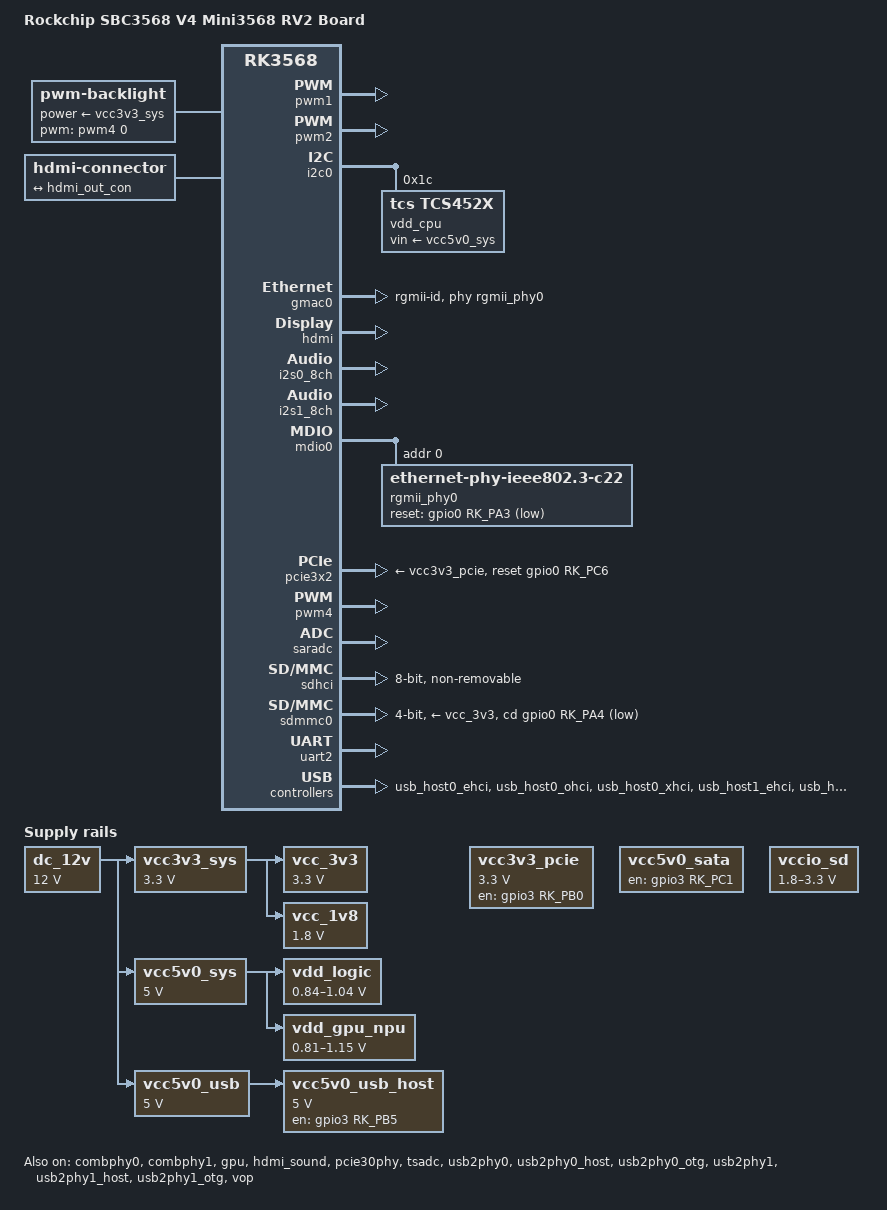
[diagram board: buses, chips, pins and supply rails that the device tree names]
// SPDX-License-Identifier: (GPL-2.0+ OR MIT)
/*
 * Copyright (c) 2021 Rockchip Electronics Co., Ltd.
 *
 */

/dts-v1/;
#include <dt-bindings/gpio/gpio.h>
#include <dt-bindings/leds/common.h>
#include <dt-bindings/pinctrl/rockchip.h>
#include <dt-bindings/soc/rockchip,vop2.h>
#include "rk3568.dtsi"

/ {
	model = "Rockchip SBC3568 V4 Mini3568 RV2 Board";
	compatible = "boardcon,rk3568-boardcon-sbc-v4", "rockchip,rk3568";

	aliases {
		ethernet0 = &gmac0;
		ethernet1 = &gmac1;
		mmc0 = &sdmmc0;
		mmc1 = &sdhci;
	};

	backlight: backlight {
		compatible = "pwm-backlight";
		brightness-levels = <20 220>;
		default-brightness-level = <100>;
		num-interpolated-steps = <200>;
		power-supply = <&vcc3v3_sys>;
		pwms = <&pwm4 0 25000 0>;
	};

	chosen: chosen {
		stdout-path = "serial2:1500000n8";
	};

	dc_12v: regulator-dc-12v {
		compatible = "regulator-fixed";
		regulator-name = "dc_12v";
		regulator-always-on;
		regulator-boot-on;
		regulator-min-microvolt = <12000000>;
		regulator-max-microvolt = <12000000>;
	};

	hdmi-con {
		compatible = "hdmi-connector";
		type = "a";

		port {
			hdmi_con_in: endpoint {
				remote-endpoint = <&hdmi_out_con>;
			};
		};
	};

	vcc_3v3: vcc-3V3 {
		compatible = "regulator-fixed";
		regulator-name = "vcc_3V3";
		regulator-always-on;
		regulator-boot-on;
		regulator-min-microvolt = <3300000>;
		regulator-max-microvolt = <3300000>;
		vin-supply = <&vcc3v3_sys>;
	};
	
	vcc_1v8: vcc-1V8 {
		compatible = "regulator-fixed";
		regulator-name = "vcc_1V8";
		regulator-always-on;
		regulator-boot-on;
		regulator-min-microvolt = <1800000>;
		regulator-max-microvolt = <1800000>;
		vin-supply = <&vcc3v3_sys>;
	};

	vcc3v3_sys: regulator-vcc3v3-sys {
		compatible = "regulator-fixed";
		regulator-name = "vcc3v3_sys";
		regulator-always-on;
		regulator-boot-on;
		regulator-min-microvolt = <3300000>;
		regulator-max-microvolt = <3300000>;
		vin-supply = <&dc_12v>;
	};

	vcc5v0_sys: regulator-vcc5v0-sys {
		compatible = "regulator-fixed";
		regulator-name = "vcc5v0_sys";
		regulator-always-on;
		regulator-boot-on;
		regulator-min-microvolt = <5000000>;
		regulator-max-microvolt = <5000000>;
		vin-supply = <&dc_12v>;
	};

	vcc5v0_usb: regulator-vcc5v0-usb {
		compatible = "regulator-fixed";
		regulator-name = "vcc5v0_usb";
		regulator-always-on;
		regulator-boot-on;
		regulator-min-microvolt = <5000000>;
		regulator-max-microvolt = <5000000>;
		vin-supply = <&dc_12v>;
	};
	
	vdd_logic: vdd-logic {
		compatible = "pwm-regulator";
		pwms = <&pwm1 0 5000 1>;
		regulator-name = "vdd_logic";
		regulator-min-microvolt = <840000>;
		regulator-max-microvolt = <1040000>;
		regulator-init-microvolt = <900000>;
		regulator-always-on;
		regulator-boot-on;
		regulator-settling-time-up-us = <250>;
		pwm-supply = <&vcc5v0_sys>;
		status = "okay";
	};
	
	vdd_gpu_npu: vdd-gpu-npu {
		compatible = "pwm-regulator";
		pwms = <&pwm2 0 5000 1>;
		regulator-name = "vdd_gpu_npu";
		regulator-min-microvolt = <810000>;
		regulator-max-microvolt = <1150000>;
		regulator-init-microvolt = <900000>;
		regulator-always-on;
		regulator-boot-on;
		regulator-settling-time-up-us = <250>;
		pwm-supply = <&vcc5v0_sys>;
		status = "okay";
	};

	vcc5v0_usb_host: regulator-vcc5v0-usb-host {
		compatible = "regulator-fixed";
		enable-active-high;
		gpio = <&gpio3 RK_PB5 GPIO_ACTIVE_HIGH>;
		pinctrl-names = "default";
		pinctrl-0 = <&vcc5v0_usb_host_en>;
		regulator-name = "vcc5v0_usb_host";
		regulator-min-microvolt = <5000000>;
		regulator-max-microvolt = <5000000>;
		vin-supply = <&vcc5v0_usb>;
	};
	
	vcc3v3_pcie: vcc3v3-pcie {
		compatible = "regulator-fixed";
		regulator-name = "vcc3v3_pcie";
		regulator-min-microvolt = <3300000>;
		regulator-max-microvolt = <3300000>;
		enable-active-high;
		gpio = <&gpio3 RK_PB0 GPIO_ACTIVE_HIGH>;
		startup-delay-us = <5000>;
		pinctrl-names = "default";
	  pinctrl-0 = <&pcie_m2_en>;
	};

	vcc5v0_sata: vcc5v0-sata {
		compatible = "regulator-fixed";
		regulator-name = "vcc5v0_sata";
		enable-active-high;
		regulator-always-on;
    regulator-boot-on;
		gpio = <&gpio3 RK_PC1 GPIO_ACTIVE_HIGH>;
		startup-delay-us = <5000>;
		pinctrl-names = "default";
	  pinctrl-0 = <&vcc_sata_en>;
	};
	
	vccio_sd: vccio-sd {
  	compatible = "regulator-gpio";
  	regulator-name = "vccio_sd";
  	regulator-type = "voltage";
  	regulator-min-microvolt = <1800000>;
  	regulator-max-microvolt = <3300000>;
  	gpios = <&gpio0 RK_PB7 GPIO_ACTIVE_HIGH>;
  	states = <1800000 1>, 
  		       <3300000 0>; 
  	regulator-boot-on;
	  regulator-always-on;
	  pinctrl-names = "default";
	  pinctrl-0 = <&vccio_sd_ctrl>;
	};
};

&pwm1 {
	pinctrl-0 = <&pwm1m0_pins>;
	status = "okay";
};

&pwm2 {
	pinctrl-0 = <&pwm2m0_pins>;
	status = "okay";	
};

&i2c0 {
	status = "okay";

	vdd_cpu: tcs4525@1c {
		compatible = "tcs,tcs452x";
		reg = <0x1c>;
		vin-supply = <&vcc5v0_sys>;
		regulator-compatible = "fan53555-reg";
		regulator-name = "vdd_cpu";
		regulator-min-microvolt = <712500>;
		regulator-max-microvolt = <1390000>;
		regulator-init-microvolt = <900000>;
		regulator-ramp-delay = <2300>;
		fcs,suspend-voltage-selector = <1>;
		regulator-boot-on;
		regulator-always-on;
		regulator-state-mem {
			regulator-off-in-suspend;
		};
	};
};

&combphy0 {
	status = "okay";
};

&combphy1 {
	status = "okay";
};

&cpu0 {
	cpu-supply = <&vdd_cpu>;
};

&cpu1 {
	cpu-supply = <&vdd_cpu>;
};

&cpu2 {
	cpu-supply = <&vdd_cpu>;
};

&cpu3 {
	cpu-supply = <&vdd_cpu>;
};

&gmac0 {
	assigned-clocks = <&cru SCLK_GMAC0_RX_TX>, <&cru SCLK_GMAC0>;
	assigned-clock-parents = <&cru SCLK_GMAC0_RGMII_SPEED>;
	assigned-clock-rates = <0>, <125000000>;
	clock_in_out = "output";
	phy-handle = <&rgmii_phy0>;
	phy-mode = "rgmii-id";
	pinctrl-names = "default";
	pinctrl-0 = <&gmac0_miim
		     &gmac0_tx_bus2
		     &gmac0_rx_bus2
		     &gmac0_rgmii_clk
		     &gmac0_rgmii_bus>;
	status = "okay";
};

&gpu {
	mali-supply = <&vdd_gpu_npu>;
	status = "okay";
};

&hdmi {
	status = "okay";
};

&hdmi_in {
	hdmi_in_vp0: endpoint {
		remote-endpoint = <&vp0_out_hdmi>;
	};
};

&hdmi_out {
	hdmi_out_con: endpoint {
		remote-endpoint = <&hdmi_con_in>;
	};
};

&hdmi_sound {
	status = "okay";
};

&i2s0_8ch {
	status = "okay";
};

&i2s1_8ch {
	rockchip,trcm-sync-tx-only;
	status = "okay";
};

&mdio0 {
	rgmii_phy0: ethernet-phy@0 {
		compatible = "ethernet-phy-ieee802.3-c22";
		reg = <0x0>;
		reset-assert-us = <20000>;
		reset-deassert-us = <100000>;
		reset-gpios = <&gpio0 RK_PA3 GPIO_ACTIVE_LOW>;
	};
};

&pcie30phy {
	status = "okay";
};

&pcie3x2 {
	reset-gpios = <&gpio0 RK_PC6 GPIO_ACTIVE_HIGH>;
	vpcie3v3-supply = <&vcc3v3_pcie>;
	status = "okay";
};

&pinctrl {
	usb {
		vcc5v0_usb_host_en: vcc5v0_usb_host_en {
			rockchip,pins = <3 RK_PB5 RK_FUNC_GPIO &pcfg_pull_none>;
		};
	};
		
	sdmmc0 {
		vccio_sd_ctrl: vccio-sd-ctrl {
			rockchip,pins = <0 RK_PB7 RK_FUNC_GPIO &pcfg_pull_none>;
		};
	}; 
	
	ssd {
		pcie_m2_en: pcie-m2-en {
			rockchip,pins = <3 RK_PB0 RK_FUNC_GPIO &pcfg_pull_none>;
		};
	}; 
	
	sata {
		vcc_sata_en: vcc-sata-en {
			rockchip,pins = <3 RK_PC1 RK_FUNC_GPIO &pcfg_pull_none>;
		};
	}; 
};

&pmu_io_domains {
	pmuio1-supply = <&vcc_3v3>;
	pmuio2-supply = <&vcc_3v3>;
	vccio1-supply = <&vcc_3v3>;
	vccio2-supply = <&vcc_1v8>;
	vccio3-supply = <&vccio_sd>;
	vccio4-supply = <&vcc_1v8>;
	vccio5-supply = <&vcc_3v3>;
	vccio6-supply = <&vcc_1v8>;
	vccio7-supply = <&vcc_3v3>;
	status = "okay";
};

&pwm4 {
	status = "okay";
};

&saradc {
	status = "okay";
};

&sdhci {
	bus-width = <8>;
	max-frequency = <200000000>;
	non-removable;
	pinctrl-names = "default";
	pinctrl-0 = <&emmc_bus8 &emmc_clk &emmc_cmd &emmc_datastrobe>;
	status = "okay";
};

&sdmmc0 {
	bus-width = <4>;
	cap-sd-highspeed;
	cd-gpios = <&gpio0 RK_PA4 GPIO_ACTIVE_LOW>;
	disable-wp;
	pinctrl-names = "default";
	pinctrl-0 = <&sdmmc0_bus4 &sdmmc0_clk &sdmmc0_cmd &sdmmc0_det>;
	sd-uhs-sdr104;
	vmmc-supply = <&vcc_3v3>;
	vqmmc-supply = <&vccio_sd>;
	status = "okay";
};

&tsadc {
	rockchip,hw-tshut-mode = <1>;
	rockchip,hw-tshut-polarity = <0>;
	status = "okay";
};

&uart2 {
	status = "okay";
};

&usb_host0_ehci {
	status = "okay";
};

&usb_host0_ohci {
	status = "okay";
};

&usb_host0_xhci {
	extcon = <&usb2phy0>;
	status = "okay";
};

&usb_host1_ehci {
	status = "okay";
};

&usb_host1_ohci {
	status = "okay";
};

&usb_host1_xhci {
	status = "okay";
};

&usb2phy0 {
	status = "okay";
};

&usb2phy0_host {
	phy-supply = <&vcc5v0_usb_host>;
	status = "okay";
};

&usb2phy0_otg {
	status = "okay";
};

&usb2phy1 {
	status = "okay";
};

&usb2phy1_host {
	phy-supply = <&vcc5v0_usb_host>;
	status = "okay";
};

&usb2phy1_otg {
	phy-supply = <&vcc5v0_usb_host>;
	status = "okay";
};

&vop {
	assigned-clocks = <&cru DCLK_VOP0>, <&cru PLL_VPLL>, <&cru DCLK_VOP1>;
	assigned-clock-parents = <&pmucru PLL_HPLL>, <&xin24m>, <&cru PLL_VPLL>;
	assigned-clock-rates = <0>, <132000000>, <132000000>;
	status = "okay";
};

&vop_mmu {
	status = "okay";
};

&vp0 {
	vp0_out_hdmi: endpoint@ROCKCHIP_VOP2_EP_HDMI0 {
		reg = <ROCKCHIP_VOP2_EP_HDMI0>;
		remote-endpoint = <&hdmi_in_vp0>;
	};
};
